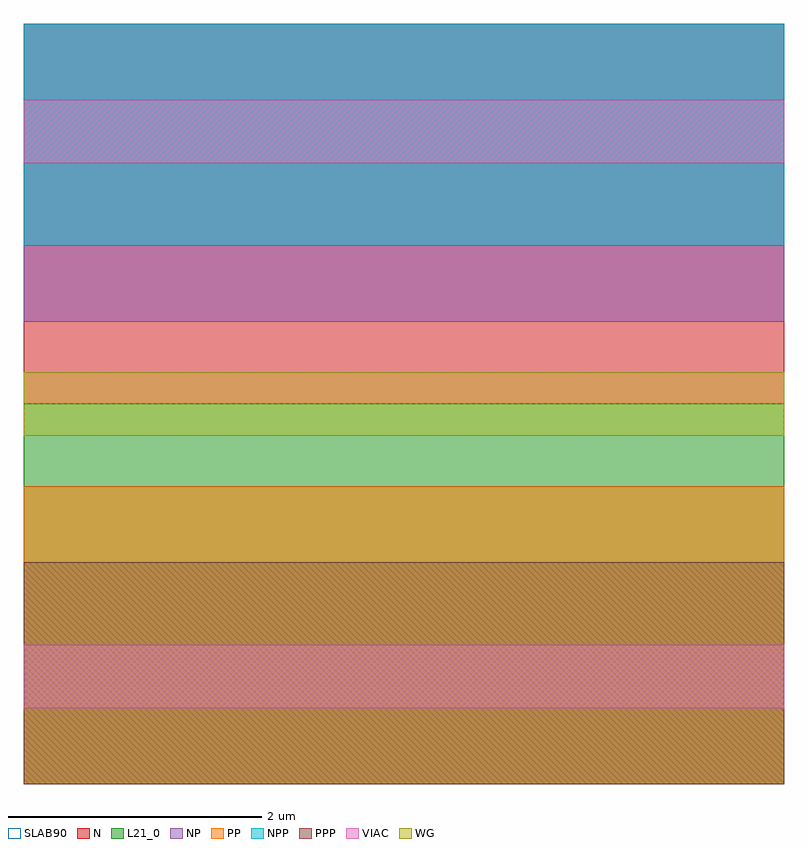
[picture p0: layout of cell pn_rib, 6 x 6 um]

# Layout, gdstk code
import gdstk
lib = gdstk.Library(unit=1e-6, precision=1e-09)
def R(c, l, rs):  # rectangles x0, y0, x1, y1
    for r in rs: c.add(gdstk.rectangle(r[:2], r[2:], *l))
WG = (1, 0)
SLAB90 = (3, 0)
N = (20, 0)
L21_0 = (21, 0)
NP = (22, 0)
PP = (23, 0)
NPP = (24, 0)
PPP = (25, 0)
VIAC = (40, 0)

pn_rib = lib.new_cell('pn_rib')
R(pn_rib, WG, [(-3,-0.25,3,0.25)])
R(pn_rib, SLAB90, [(-3,-3,3,3)])
R(pn_rib, N, [(-3,0,3,3)])
R(pn_rib, L21_0, [(-3,-3,3,0)])
R(pn_rib, NP, [(-3,0.65,3,3)])
R(pn_rib, PP, [(-3,-3,3,-0.65)])
R(pn_rib, NPP, [(-3,1.25,3,3)])
R(pn_rib, PPP, [(-3,-3,3,-1.25)])
R(pn_rib, VIAC, [(-3,-2.4,3,-1.9), (-3,1.9,3,2.4)])

lib.write_gds('pn_rib.gds')
